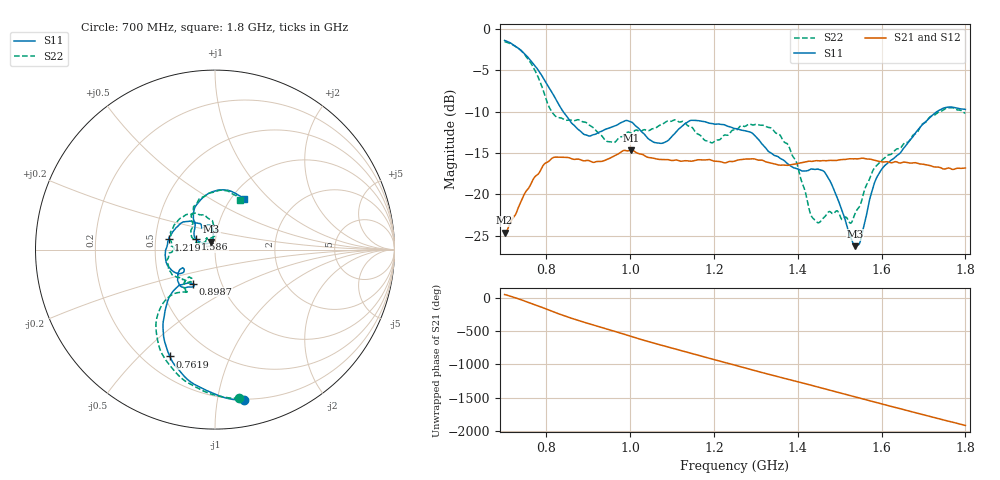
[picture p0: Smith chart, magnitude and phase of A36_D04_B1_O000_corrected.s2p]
! Created with skrf 1.9.0 (http://scikit-rf.org).
# Hz S RI R 50.0
!freq ReS11 ImS11 ReS21 ImS21 ReS12 ImS12 ReS22 ImS22
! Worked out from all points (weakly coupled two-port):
!   1601 points, 700 MHz to 1.8 GHz, reference 50 ohm
!   highest |S21| = -14.65 dB at 1.002 GHz (marker M1); lowest = -24.6 dB at 700 MHz (marker M2)
!   lowest |S11| = -26.3 dB at 1.537 GHz (marker M3), VSWR 1.10, Z = 47.8 + j4.2 ohm
!   |S11| at or under -10 dB: 840 MHz to 1.732 GHz (891.6 MHz wide, 69.3 % of centre)
!   |S22| runs from -23.5 to -1.5 dB; largest |S21 - S12| = 0.0034
!   S11 on the Smith chart (normalised r, x): 700 MHz: 0.19, -1.20; 761.9 MHz: 0.30, -0.62; 898.7 MHz: 0.73, -0.29; 1.219 GHz: 0.59, +0.07; 1.586 GHz: 0.80, +0.10; 1.8 GHz: 1.14, +0.72
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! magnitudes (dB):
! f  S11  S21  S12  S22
! 700 MHz  -1.4  -24.6  -24.4  -1.5
! 761.9 MHz  -3.8  -18.8  -18.8  -4.0
! 817.6 MHz  -8.0  -15.5  -15.6  -10.3
! 883.6 MHz  -12.5  -15.9  -15.8  -11.2
! 898.7 MHz  -12.9  -15.9  -15.9  -11.5
! 948.2 MHz  -12.0  -15.7  -15.7  -13.6
! 1.002 GHz  -11.2  -14.6  -14.7  -12.6
! 1.067 GHz  -13.8  -15.8  -15.7  -11.7
! 1.143 GHz  -11.1  -16.0  -16.0  -11.8
! 1.191 GHz  -11.4  -15.8  -15.8  -13.7
! 1.219 GHz  -11.5  -16.1  -16.1  -13.1
! 1.25 GHz  -12.0  -16.0  -15.9  -12.2
! 1.357 GHz  -15.6  -16.5  -16.4  -12.8
! 1.396 GHz  -16.9  -16.3  -16.3  -16.0
! 1.434 GHz  -16.9  -16.0  -16.0  -22.7
! 1.474 GHz  -18.1  -15.9  -15.9  -22.1
! 1.537 GHz  -26.3  -15.7  -15.7  -22.3
! 1.55 GHz  -25.6  -15.6  -15.7  -21.2
! 1.586 GHz  -18.2  -15.9  -15.9  -16.6
! 1.617 GHz  -16.1  -16.1  -16.1  -15.2
! 1.731 GHz  -10.0  -16.7  -16.7  -10.2
! 1.8 GHz  -9.7  -16.8  -16.8  -10.2
